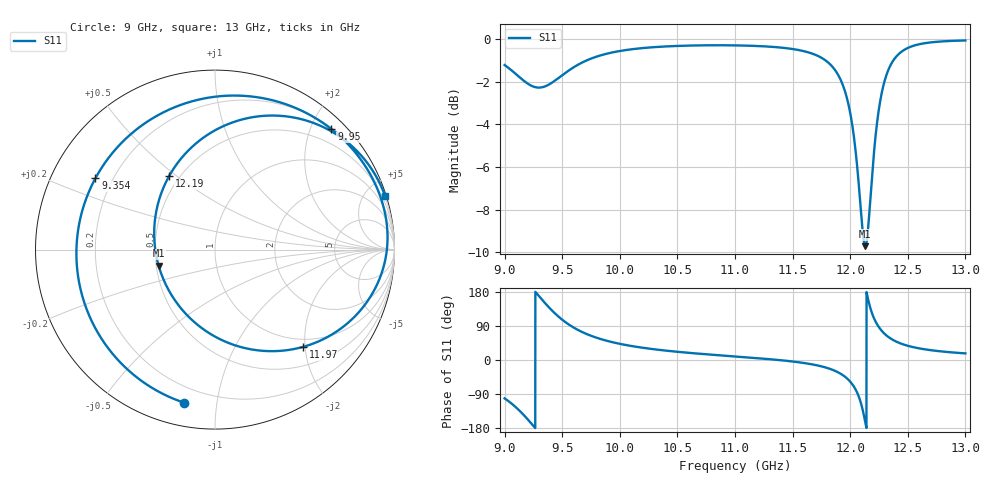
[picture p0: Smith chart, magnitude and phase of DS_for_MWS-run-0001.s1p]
! TOUCHSTONE file generated by CST DESIGN STUDIO
! Date and time: Tue Feb  4 17:24:02 2025
! Project name: C:\Work\MatlabApps\UnitCellOptimizationMatlab\CST\unitcell.cst
! Tree item: Tasks\Sweep1\SPara1\S-Parameters
! Header version: 2024
! Port assignment regex: !\s*Touchstone port\s*([0-9]+)\s*=\s*(CST MWS port|CST DES external port|CST DES block port)\s*(.+)\s* \(\"(.*)\"\)(\s*mode\s*([0-9]+))?.*
! Touchstone port assignment:
! Touchstone port 1 = CST DES external port 1 ("")
# GHz S MA R 50
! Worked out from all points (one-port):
!   4001 points, 9 GHz to 13 GHz, reference 50 ohm
!   lowest |S11| = -9.7 dB at 12.13 GHz (marker M1), VSWR 1.97, Z = 25.7 - j5.16 ohm
!   |S11| at or under -10 dB: nowhere
!   S11 on the Smith chart (normalised r, x): 9 GHz: 0.12, -0.81; 9.354 GHz: 0.14, +0.27; 9.95 GHz: 0.22, +2.34; 11.97 GHz: 0.84, -1.95; 12.19 GHz: 0.44, +0.47; 13 GHz: 0.13, +6.52
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9  0.8704 -101.3
9.104  0.8263 -126.5
9.209  0.7844 -159.5
9.28  0.7708 175.3
9.354  0.7759 149.1
9.427  0.7964 125.9
9.5  0.8236 106.4
9.592  0.8573 87.0
9.71  0.8918 68.8
9.95  0.9335 46.0
10  0.9389 42.7
10.5  0.965 21.7
11  0.9679 9.4
11.5  0.9491 -3.9
11.805  0.8841 -21.4
11.897  0.8235 -32.8
11.97  0.7306 -47.9
12  0.6718 -57.1
12.069  0.4745 -92.2
12.131  0.3266 -164.1
12.16  0.3721 154.2
12.191  0.4826 122.0
12.237  0.649 92.4
12.29  0.7825 71.7
12.382  0.8984 51.2
12.5  0.9546 37.5
12.691  0.9832 26.2
13  0.9941 17.4
